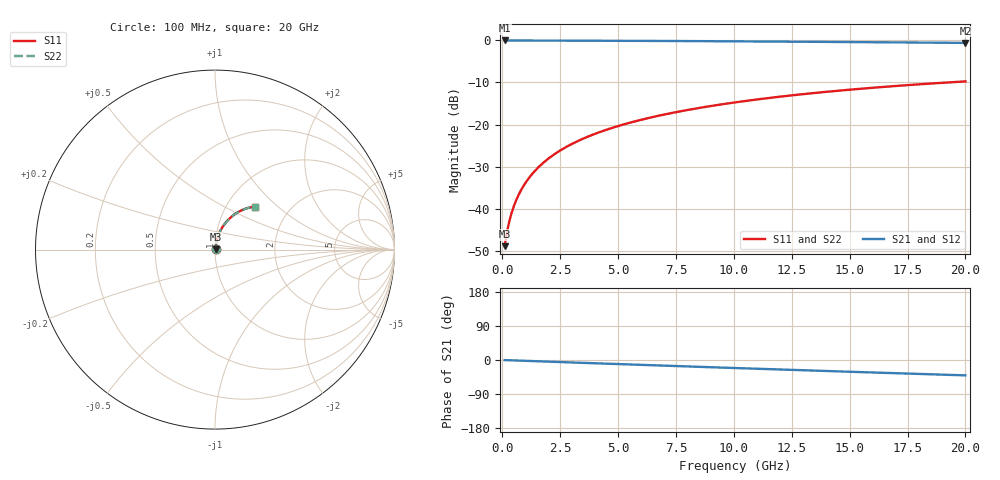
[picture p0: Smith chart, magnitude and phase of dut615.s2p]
! Touchstone file exported from HFSS 2026.1.0
!  File:  C:/ffzhzh/LocalFiles/Ansys_Project_Files/temp_train_TMRDL_615_1783008863_53980.aedt
!  Generated:  12:15:51 AM Jul  3, 2026
!  Design:  TMRDL
!  Project:  temp_train_TMRDL_615_1783008863_53980
! Variables:
!  h_bsmrdl = 2um
!  h_ox = 20um
!  h_rdl = 5um
!  h_sub = 80um
!  h_tmrdl = 4.41um
!  h_tsv = 80um
!  h_via = 3um
!  l_bsmrdl = 300um
!  l_sub = 1029.47um
!  l_tmrdl = 629.47um
!  m_sub = 200um
!  pitch = 37.99um
!  r_tsv = 6um
!  s_tmrdl = 10um
!  w_bsmrdl = 18um
!  w_sub = 500um
!  w_tmrdl = 18.78um
!  x_tsv_center1 = 638.86um
!  x_tsv_center2 = 956.86um
!  x_tsv_center3 = 1605.11um
!  x_tsv_center4 = 1923.11um
!  x_tsv_center5 = 2571.36um
!  x_tsv_center6 = 2889.36um
# GHz S MA R 50.000000
! Terminal data exported
! Port[1] = TM_RDL1_1_T1
! Port[2] = TM_RDL1_1_T2
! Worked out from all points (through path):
!   200 points, 100 MHz to 20 GHz, reference 50 ohm
!   highest |S21| = -0.02 dB at 100 MHz (marker M1); lowest = -0.6 dB at 20 GHz (marker M2)
!   group delay of S21, straight-line fit = 5.63 ps
!   lowest |S11| = -48.9 dB at 100 MHz (marker M3), VSWR 1.01, Z = 50.3 + j0.22 ohm
!   |S11| at or under -10 dB: start of sweep to 19.23 GHz
!   |S22| runs from -48.9 to -9.7 dB; largest |S21 - S12| = 2.7e-15
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0.1  0.003597 37.5  0.9972 -0.2  0.9972 -0.2  0.003597 37.5
! Gamma 0 0 0 0
! Port Impedance 50 0 50 0
0.2  0.005242 54.6  0.997 -0.5  0.997 -0.5  0.005242 54.6
0.3  0.007045 62.7  0.9968 -0.7  0.9968 -0.7  0.007045 62.7
0.4  0.008885 67.5  0.9967 -0.9  0.9967 -0.9  0.008885 67.5
0.5  0.01075 70.7  0.9966 -1.1  0.9966 -1.1  0.01075 70.7
0.6  0.01263 73.0  0.9965 -1.3  0.9965 -1.3  0.01263 73.0
0.8  0.01643 75.9  0.9964 -1.8  0.9964 -1.8  0.01643 75.9
1.1  0.0222 78.1  0.9961 -2.4  0.9961 -2.4  0.0222 78.1
1.3  0.02607 78.9  0.9959 -2.8  0.9959 -2.8  0.02607 78.9
1.6  0.03188 79.5  0.9956 -3.5  0.9956 -3.5  0.03188 79.5
2.1  0.04154 79.6  0.9949 -4.6  0.9949 -4.6  0.04154 79.6
2.7  0.05305 79.2  0.994 -5.9  0.994 -5.9  0.05305 79.2
3.5  0.06821 78.1  0.9925 -7.6  0.9925 -7.6  0.06821 78.0
4.2  0.08127 76.9  0.991 -9.1  0.991 -9.1  0.08127 76.9
5  0.09597 75.4  0.989 -10.8  0.989 -10.8  0.09598 75.4
5.9  0.1122 73.8  0.9867 -12.7  0.9867 -12.7  0.1122 73.8
6.8  0.1282 72.1  0.9841 -14.5  0.9841 -14.5  0.1282 72.0
8.3  0.1541 69.2  0.9795 -17.6  0.9795 -17.6  0.1541 69.2
10.1  0.1841 65.8  0.9734 -21.3  0.9734 -21.3  0.1841 65.8
13.4  0.2359 59.5  0.961 -27.9  0.961 -27.9  0.2359 59.5
16.7  0.2832 53.4  0.9474 -34.3  0.9474 -34.3  0.2832 53.3
20  0.3256 47.4  0.9332 -40.6  0.9332 -40.6  0.3256 47.3
